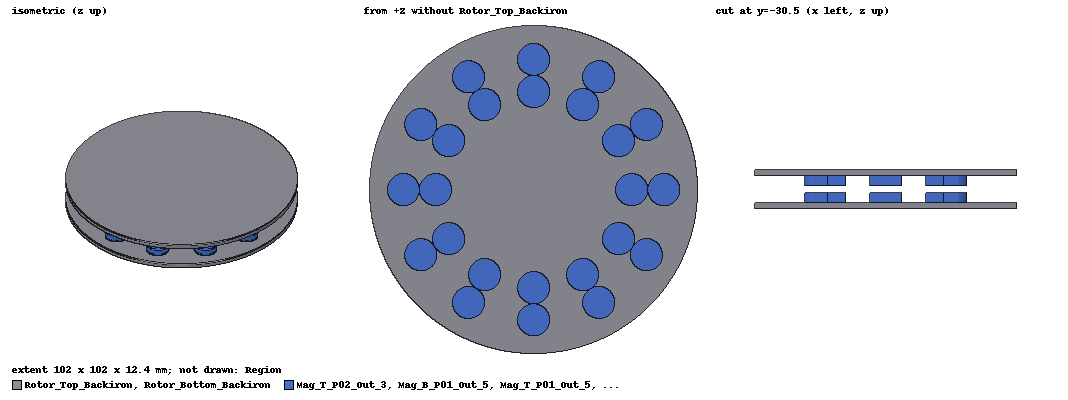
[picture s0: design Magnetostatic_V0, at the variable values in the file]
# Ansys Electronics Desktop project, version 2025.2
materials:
  vacuum: permittivity=1
  FR4_epoxy: permittivity=4.4 dielectric_loss_tangent=0.02
  steel_1008: permeability{HUnit=A_per_meter BUnit=tesla curve (0, 0) (159.2, 0.2402) (318.3, 0.8654) (477.5, 1.1106) (636.6, 1.2458) (795.8, 1.331) (1591.5, 1.5) (3183.1, 1.6) (4774.6, 1.683) (6366.2, 1.741) (7957.7, 1.78) (15915.5, 1.905) (31831, 2.025) (47746.5, 2.085) (63662, 2.13) (79577.5, 2.165) (159155, 2.28) (318310, 2.485) (397887, 2.5851)} conductivity=2000000
  N38_V0_PosZ: permeability=1.05 magnetic_coercivity{Magnitude=-909456A_per_meter DirComp1=0 DirComp2=0 DirComp3=1}
  N38_V0_NegZ: permeability=1.05 magnetic_coercivity{Magnitude=-909456A_per_meter DirComp1=0 DirComp2=0 DirComp3=-1}
  copper: permeability=0.999991 conductivity=58000000

design Magnetostatic_V0 (Maxwell 3D, Magnetostatic, model units mm)
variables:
  R_pcb_out = 50mm
  R_wdg_out = 46mm
  R_wdg_in = 25mm
  R_hole = 6mm
  t_pcb = 1mm
  t_cu = 0.07mm
  w_trace = 1.2mm
  s_trace = 0.25mm
  N_turn_layer = 7
  N_layers = 2
  N_coils = 9
  N_poles = 12
  N_rotors = 2
  N_mag_radial = 2
  d_mag = 10mm
  t_mag = 3mm
  R_mag_inner = 30.5mm
  R_mag_outer = 40.5mm
  g_mech = 0.7mm
  t_backiron = 2mm
  R_rotor = 51mm
  D_shaft = 8mm
  z_top_mag = t_pcb/2+g_mech
  z_bottom_mag = -z_top_mag-t_mag
  theta_pole = 360deg/N_poles
  z_pcb_min = -t_pcb/2
  z_top_iron = z_top_mag+t_mag
  z_bottom_iron = z_bottom_mag-t_backiron
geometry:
  PCB_Stator [FR4_epoxy, non-model] = cylinder(axis=Z, base_centre=(0mm, 0mm, z_pcb_min), radius=R_pcb_out, height=t_pcb)
  PCB_Hole_Tool = cylinder(axis=Z, base_centre=(0mm, 0mm, z_pcb_min), radius=R_hole, height=t_pcb)
  PCB_Stator.subtract(PCB_Hole_Tool)
  Rotor_Top_Backiron [steel_1008] = cylinder(axis=Z, base_centre=(0mm, 0mm, z_top_iron), radius=R_rotor, height=t_backiron)
  Rotor_Bottom_Backiron [steel_1008] = cylinder(axis=Z, base_centre=(0mm, 0mm, z_bottom_iron), radius=R_rotor, height=t_backiron)
  Mag_T_P01_In [N38_V0_PosZ] = cylinder(axis=Z, base_centre=(R_mag_inner, 0mm, z_top_mag), radius=d_mag/2, height=t_mag)
  Mag_T_P01_Out [N38_V0_PosZ] = cylinder(axis=Z, base_centre=(R_mag_outer, 0mm, z_top_mag), radius=d_mag/2, height=t_mag)
  Mag_B_P01_In [N38_V0_PosZ] = cylinder(axis=Z, base_centre=(R_mag_inner, 0mm, z_bottom_mag), radius=d_mag/2, height=t_mag)
  Mag_B_P01_Out [N38_V0_PosZ] = cylinder(axis=Z, base_centre=(R_mag_outer, 0mm, z_bottom_mag), radius=d_mag/2, height=t_mag)
  Mag_B_P02_In [N38_V0_NegZ] = Mag_B_P01_In.duplicate_around_axis(axis=Z, angle=theta_pole, total=2)
  Mag_B_P02_Out [N38_V0_NegZ] = Mag_B_P01_Out.duplicate_around_axis(axis=Z, angle=theta_pole, total=2)
  Mag_T_P02_In [N38_V0_NegZ] = Mag_T_P01_In.duplicate_around_axis(axis=Z, angle=theta_pole, total=2)
  Mag_T_P02_Out [N38_V0_NegZ] = Mag_T_P01_Out.duplicate_around_axis(axis=Z, angle=theta_pole, total=2)
  Mag_B_P02_In_1..Mag_B_P02_In_5 [N38_V0_NegZ] = Mag_B_P02_In.duplicate_around_axis(axis=Z, angle=2*theta_pole, total=6)
  Mag_B_P02_Out_1..Mag_B_P02_Out_5 [N38_V0_NegZ] = Mag_B_P02_Out.duplicate_around_axis(axis=Z, angle=2*theta_pole, total=6)
  Mag_T_P02_In_1..Mag_T_P02_In_5 [N38_V0_NegZ] = Mag_T_P02_In.duplicate_around_axis(axis=Z, angle=2*theta_pole, total=6)
  Mag_T_P02_Out_1..Mag_T_P02_Out_5 [N38_V0_NegZ] = Mag_T_P02_Out.duplicate_around_axis(axis=Z, angle=2*theta_pole, total=6)
  Mag_B_P01_In_1..Mag_B_P01_In_5 [N38_V0_PosZ] = Mag_B_P01_In.duplicate_around_axis(axis=Z, angle=2*theta_pole, total=6)
  Mag_B_P01_Out_1..Mag_B_P01_Out_5 [N38_V0_PosZ] = Mag_B_P01_Out.duplicate_around_axis(axis=Z, angle=2*theta_pole, total=6)
  Mag_T_P01_In_1..Mag_T_P01_In_5 [N38_V0_PosZ] = Mag_T_P01_In.duplicate_around_axis(axis=Z, angle=2*theta_pole, total=6)
  Mag_T_P01_Out_1..Mag_T_P01_Out_5 [N38_V0_PosZ] = Mag_T_P01_Out.duplicate_around_axis(axis=Z, angle=2*theta_pole, total=6)
  Region [vacuum] = region(percentage_offset=50 on all sides)
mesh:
  initial mesh: GlobalCurvilinear{Apply}
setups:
  Setup_NoLoad: Magnetostatic MaximumPasses=3 MinimumPasses=2 MinimumConvergedPasses=1 PercentRefinement=10 PercentError=5 NonLinearResidual=0.001
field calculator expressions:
  Bz_NoLoad = Fundamental_Quantity(22) | ScalarZ
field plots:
  Bmag_StatorMidplane_NoLoad: B over a plane on Setup_NoLoad : LastAdaptive
  Bz_StatorMidplane_NoLoad: NamedExpr over a plane on Setup_NoLoad : LastAdaptive

design Magnetostatic_Winding_V0 (Maxwell 3D, Magnetostatic, model units mm)
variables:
  R_pcb_out = 50mm
  R_wdg_out = 46mm
  R_wdg_in = 25mm
  R_hole = 6mm
  t_pcb = 1mm
  t_cu = 0.07mm
  w_trace = 1.2mm
  s_trace = 0.25mm
  N_turn_layer = 7
  N_layers = 2
  N_coils = 9
  N_poles = 12
  N_rotors = 2
  N_mag_radial = 2
  d_mag = 10mm
  t_mag = 3mm
  R_mag_inner = 30.5mm
  R_mag_outer = 40.5mm
  g_mech = 0.7mm
  t_backiron = 2mm
  R_rotor = 51mm
  D_shaft = 8mm
  z_top_mag = t_pcb/2+g_mech
  z_bottom_mag = -z_top_mag-t_mag
  theta_pole = 360deg/N_poles
  z_pcb_min = -t_pcb/2
  z_top_iron = z_top_mag+t_mag
  z_bottom_iron = z_bottom_mag-t_backiron
  theta_coil = 360deg/N_coils
  theta_path_half = theta_coil/4
  w_bundle = N_turn_layer*w_trace+(N_turn_layer-1)*s_trace
  R_coil_outer_cl = R_wdg_out-w_bundle/2
  R_coil_inner_cl = R_wdg_in+w_bundle/2
  z_cu_top_mid = t_pcb/2+t_cu/2
  z_cu_bottom_mid = -t_pcb/2-t_cu/2
  N_turn_total = N_turn_layer*N_layers
  x_term_cl = R_coil_outer_cl*cos(theta_path_half)
  x_term_min = x_term_cl-w_bundle/2
  z_term_top_min = t_pcb/2
  I_phase_pk = 1A
  gamma_e = 300deg
  I_A = I_phase_pk*cos(gamma_e)
  I_B = I_phase_pk*cos(gamma_e-120deg)
  I_C = I_phase_pk*cos(gamma_e+120deg)
  diameter = 0.84mm
  w_cu_eq = N_turn_layer*w_trace
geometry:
  PCB_Stator [FR4_epoxy] = cylinder(axis=Z, base_centre=(0mm, 0mm, z_pcb_min), radius=R_pcb_out, height=t_pcb)
  PCB_Hole_Tool = cylinder(axis=Z, base_centre=(0mm, 0mm, z_pcb_min), radius=R_hole, height=t_pcb)
  PCB_Stator.subtract(PCB_Hole_Tool)
  Rotor_Top_Backiron [steel_1008] = cylinder(axis=Z, base_centre=(0mm, 0mm, z_top_iron), radius=R_rotor, height=t_backiron)
  Rotor_Bottom_Backiron [steel_1008] = cylinder(axis=Z, base_centre=(0mm, 0mm, z_bottom_iron), radius=R_rotor, height=t_backiron)
  Mag_T_P01_In [N38_V0_PosZ] = cylinder(axis=Z, base_centre=(R_mag_inner, 0mm, z_top_mag), radius=d_mag/2, height=t_mag)
  Mag_T_P01_Out [N38_V0_PosZ] = cylinder(axis=Z, base_centre=(R_mag_outer, 0mm, z_top_mag), radius=d_mag/2, height=t_mag)
  Mag_B_P01_In [N38_V0_PosZ] = cylinder(axis=Z, base_centre=(R_mag_inner, 0mm, z_bottom_mag), radius=d_mag/2, height=t_mag)
  Mag_B_P01_Out [N38_V0_PosZ] = cylinder(axis=Z, base_centre=(R_mag_outer, 0mm, z_bottom_mag), radius=d_mag/2, height=t_mag)
  Mag_B_P02_In [N38_V0_NegZ] = Mag_B_P01_In.duplicate_around_axis(axis=Z, angle=theta_pole, total=2)
  Mag_B_P02_Out [N38_V0_NegZ] = Mag_B_P01_Out.duplicate_around_axis(axis=Z, angle=theta_pole, total=2)
  Mag_T_P02_In [N38_V0_NegZ] = Mag_T_P01_In.duplicate_around_axis(axis=Z, angle=theta_pole, total=2)
  Mag_T_P02_Out [N38_V0_NegZ] = Mag_T_P01_Out.duplicate_around_axis(axis=Z, angle=theta_pole, total=2)
  Mag_B_P02_In_1..Mag_B_P02_In_5 [N38_V0_NegZ] = Mag_B_P02_In.duplicate_around_axis(axis=Z, angle=2*theta_pole, total=6)
  Mag_B_P02_Out_1..Mag_B_P02_Out_5 [N38_V0_NegZ] = Mag_B_P02_Out.duplicate_around_axis(axis=Z, angle=2*theta_pole, total=6)
  Mag_T_P02_In_1..Mag_T_P02_In_5 [N38_V0_NegZ] = Mag_T_P02_In.duplicate_around_axis(axis=Z, angle=2*theta_pole, total=6)
  Mag_T_P02_Out_1..Mag_T_P02_Out_5 [N38_V0_NegZ] = Mag_T_P02_Out.duplicate_around_axis(axis=Z, angle=2*theta_pole, total=6)
  Mag_B_P01_In_1..Mag_B_P01_In_5 [N38_V0_PosZ] = Mag_B_P01_In.duplicate_around_axis(axis=Z, angle=2*theta_pole, total=6)
  Mag_B_P01_Out_1..Mag_B_P01_Out_5 [N38_V0_PosZ] = Mag_B_P01_Out.duplicate_around_axis(axis=Z, angle=2*theta_pole, total=6)
  Mag_T_P01_In_1..Mag_T_P01_In_5 [N38_V0_PosZ] = Mag_T_P01_In.duplicate_around_axis(axis=Z, angle=2*theta_pole, total=6)
  Mag_T_P01_Out_1..Mag_T_P01_Out_5 [N38_V0_PosZ] = Mag_T_P01_Out.duplicate_around_axis(axis=Z, angle=2*theta_pole, total=6)
  Region [vacuum] = region(percentage_offset=50 on all sides)
  Coil_Top_01 [copper] = polyline(z=0.535mm, xy in mm: (40.426358, -7.1282577) (40.426358, 7.1282577) (29.494992, 5.2007629) (29.494992, -5.2007629) (40.426358, -7.1282577), closed, section rectangle width=w_cu_eq height=t_cu orient=Z)
  Coil_Top_01_1..Coil_Top_01_8 [copper] = Coil_Top_01.duplicate_around_axis(axis=Z, angle=theta_coil, total=9)
  Coil_Bottom_01 [copper] = Coil_Top_01.duplicate_along_line(step=(0mm, 0mm, -1.07mm), total=2)
  Coil_Bottom_01_1..Coil_Bottom_01_8 [copper] = Coil_Bottom_01.duplicate_around_axis(axis=Z, angle=theta_coil, total=9)
  Terminal_Top_01 = rectangle(corner=(36.226358mm, 0mm, 0.5mm), z_size=0.07mm, x_size=8.4mm)
  Terminal_Top_01_1..Terminal_Top_01_8 = Terminal_Top_01.duplicate_around_axis(axis=Z, angle=40deg, total=9)
  Terminal_Bottom_01 = Terminal_Top_01.duplicate_along_line(step=(0mm, 0mm, -1.07mm), total=2)
  Terminal_Bottom_01_1..Terminal_Bottom_01_8 = Terminal_Bottom_01.duplicate_around_axis(axis=Z, angle=40deg, total=9)
  Coil_Top_01_Section1 = Coil_Top_01.section(plane=ZX)
  Terminal_Top_01_Exact [copper] = object_from(Coil_Top_01_Section1.face)
  Coil_Top_01_Section1.delete()
  Terminal_Top_01_Exact_1..Terminal_Top_01_Exact_8 [copper] = Terminal_Top_01_Exact.duplicate_around_axis(axis=Z, angle=40deg, total=9)
  Terminal_Top_01_Exact_9 [copper] = Terminal_Top_01_Exact.duplicate_along_line(step=(0mm, 0mm, -1.07mm), total=2)
  Terminal_Top_01_Exact_1_1 [copper] = Terminal_Top_01_Exact_1.duplicate_along_line(step=(0mm, 0mm, -1.07mm), total=2)
  Terminal_Top_01_Exact_2_1 [copper] = Terminal_Top_01_Exact_2.duplicate_along_line(step=(0mm, 0mm, -1.07mm), total=2)
  Terminal_Top_01_Exact_3_1 [copper] = Terminal_Top_01_Exact_3.duplicate_along_line(step=(0mm, 0mm, -1.07mm), total=2)
  Terminal_Top_01_Exact_4_1 [copper] = Terminal_Top_01_Exact_4.duplicate_along_line(step=(0mm, 0mm, -1.07mm), total=2)
  Terminal_Top_01_Exact_5_1 [copper] = Terminal_Top_01_Exact_5.duplicate_along_line(step=(0mm, 0mm, -1.07mm), total=2)
  Terminal_Top_01_Exact_6_1 [copper] = Terminal_Top_01_Exact_6.duplicate_along_line(step=(0mm, 0mm, -1.07mm), total=2)
  Terminal_Top_01_Exact_7_1 [copper] = Terminal_Top_01_Exact_7.duplicate_along_line(step=(0mm, 0mm, -1.07mm), total=2)
  Terminal_Top_01_Exact_8_1 [copper] = Terminal_Top_01_Exact_8.duplicate_along_line(step=(0mm, 0mm, -1.07mm), total=2)
  Bz_Radial_Line [non-model] = polyline((20mm, 0mm, 0mm) (48mm, 0mm, 0mm))
  group Phase_A_Coils = Coil_Top_01, Coil_Top_01_3, Coil_Top_01_6, Coil_Bottom_01, Coil_Bottom_01_3, Coil_Bottom_01_6, Terminal_Top_01_Exact, Terminal_Top_01_Exact_1..Terminal_Top_01_Exact_9, Terminal_Top_01_Exact_1_1, Terminal_Top_01_Exact_2_1, Terminal_Top_01_Exact_3_1, Terminal_Top_01_Exact_4_1, Terminal_Top_01_Exact_5_1, Terminal_Top_01_Exact_6_1, Terminal_Top_01_Exact_7_1, Terminal_Top_01_Exact_8_1
  group Phase_B_Coils = Coil_Top_01_2, Coil_Top_01_5, Coil_Top_01_8, Coil_Bottom_01_2, Coil_Bottom_01_5, Coil_Bottom_01_8
  group Phase_C_Coils = Coil_Top_01_1, Coil_Top_01_4, Coil_Top_01_7, Coil_Bottom_01_1, Coil_Bottom_01_4, Coil_Bottom_01_7
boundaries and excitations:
  CT_A_T1: Coil Terminal Objects=Terminal_Top_01_Exact Conductor_number=7 Winding=Winding_A Point_out_of_terminal=false
  CT_C_T2: Coil Terminal Objects=Terminal_Top_01_Exact_1 Conductor_number=7 Winding=Winding_C Point_out_of_terminal=false
  CT_B_T3: Coil Terminal Objects=Terminal_Top_01_Exact_2 Conductor_number=7 Winding=Winding_B Point_out_of_terminal=false
  CT_A_T4: Coil Terminal Objects=Terminal_Top_01_Exact_3 Conductor_number=7 Winding=Winding_A Point_out_of_terminal=false
  CT_C_T5: Coil Terminal Objects=Terminal_Top_01_Exact_4 Conductor_number=7 Winding=Winding_C Point_out_of_terminal=false
  CT_B_T6: Coil Terminal Objects=Terminal_Top_01_Exact_5 Conductor_number=7 Winding=Winding_B Point_out_of_terminal=false
  CT_A_T7: Coil Terminal Objects=Terminal_Top_01_Exact_6 Conductor_number=7 Winding=Winding_A Point_out_of_terminal=false
  CT_C_T8: Coil Terminal Objects=Terminal_Top_01_Exact_7 Conductor_number=7 Winding=Winding_C Point_out_of_terminal=false
  CT_B_T9: Coil Terminal Objects=Terminal_Top_01_Exact_8 Conductor_number=7 Winding=Winding_B Point_out_of_terminal=false
  CT_A_B1: Coil Terminal Objects=Terminal_Top_01_Exact_9 Conductor_number=7 Winding=Winding_A Point_out_of_terminal=false
  CT_B_B9: Coil Terminal Objects=Terminal_Top_01_Exact_8_1 Conductor_number=7 Winding=Winding_B Point_out_of_terminal=false
  CT_C_B8: Coil Terminal Objects=Terminal_Top_01_Exact_7_1 Conductor_number=7 Winding=Winding_C Point_out_of_terminal=false
  CT_A_B7: Coil Terminal Objects=Terminal_Top_01_Exact_6_1 Conductor_number=7 Winding=Winding_A Point_out_of_terminal=false
  CT_B_B6: Coil Terminal Objects=Terminal_Top_01_Exact_5_1 Conductor_number=7 Winding=Winding_B Point_out_of_terminal=false
  CT_C_B5: Coil Terminal Objects=Terminal_Top_01_Exact_4_1 Conductor_number=7 Winding=Winding_C Point_out_of_terminal=false
  CT_C_B2: Coil Terminal Objects=Terminal_Top_01_Exact_1_1 Conductor_number=7 Winding=Winding_C Point_out_of_terminal=false
  CT_B_B3: Coil Terminal Objects=Terminal_Top_01_Exact_2_1 Conductor_number=7 Winding=Winding_B Point_out_of_terminal=false
  CT_A_B4: Coil Terminal Objects=Terminal_Top_01_Exact_3_1 Conductor_number=7 Winding=Winding_A Point_out_of_terminal=false
  Winding_A: Winding Group Type=Current IsSolid=false Current=I_A ParallelBranchesNum=1
  Winding_B: Winding Group Type=Current IsSolid=false Current=I_B ParallelBranchesNum=1
  Winding_C: Winding Group Type=Current IsSolid=false Current=I_C ParallelBranchesNum=1
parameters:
  Torque_Rotor_Total: Torque Is_Virtual=true Coordinate_System=Global Axis=Z Is_Positive=true Objects=[Mag_B_P02_In, Mag_B_P02_In_1..Mag_B_P02_In_5, Mag_B_P02_Out, Mag_B_P02_Out_1..Mag_B_P02_Out_5, Mag_T_P02_In, Mag_T_P02_In_1..Mag_T_P02_In_5, Mag_T_P02_Out, Mag_T_P02_Out_1..Mag_T_P02_Out_5, Mag_B_P01_In, Mag_B_P01_In_1..Mag_B_P01_In_5, Mag_B_P01_Out, Mag_B_P01_Out_1..Mag_B_P01_Out_5, Mag_T_P01_In, Mag_T_P01_In_1..Mag_T_P01_In_5, Mag_T_P01_Out, Mag_T_P01_Out_1..Mag_T_P01_Out_5, Rotor_Bottom_Backiron, Rotor_Top_Backiron]
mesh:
  initial mesh: GlobalCurvilinear{Apply}
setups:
  Setup_Loaded_1A: Magnetostatic MaximumPasses=6 MinimumPasses=6 MinimumConvergedPasses=1 PercentRefinement=10 PercentError=8 NonLinearResidual=0.001
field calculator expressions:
  Bz_NoLoad = Fundamental_Quantity(22) | ScalarZ
  Bz_1A = B_Vector | ScalarZ
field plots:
  Bz_1A1: Bz_XY_1A over a plane on Setup_Loaded_1A : LastAdaptive
  Jmag_OneCoil_Test: J over Coil_Top_01_2 on Setup_Loaded_1A : LastAdaptive
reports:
  Bz_Radial_Profile_1A: Bz_1A vs Distance on Setup_Loaded_1A : LastAdaptive [I_phase_pk=all gamma_e=all]

design Transient_NoLoad_V0 (Maxwell 3D, Transient, model units mm)
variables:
  R_pcb_out = 50mm
  R_wdg_out = 46mm
  R_wdg_in = 25mm
  R_hole = 6mm
  t_pcb = 1mm
  t_cu = 0.07mm
  w_trace = 1.2mm
  s_trace = 0.25mm
  N_turn_layer = 7
  N_layers = 2
  N_coils = 9
  N_poles = 12
  N_rotors = 2
  N_mag_radial = 2
  d_mag = 10mm
  t_mag = 3mm
  R_mag_inner = 30.5mm
  R_mag_outer = 40.5mm
  g_mech = 0.7mm
  t_backiron = 2mm
  R_rotor = 51mm
  D_shaft = 8mm
  z_top_mag = t_pcb/2+g_mech
  z_bottom_mag = -z_top_mag-t_mag
  theta_pole = 360deg/N_poles
  z_pcb_min = -t_pcb/2
  z_top_iron = z_top_mag+t_mag
  z_bottom_iron = z_bottom_mag-t_backiron
  theta_coil = 360deg/N_coils
  theta_path_half = theta_coil/4
  w_bundle = N_turn_layer*w_trace+(N_turn_layer-1)*s_trace
  R_coil_outer_cl = R_wdg_out-w_bundle/2
  R_coil_inner_cl = R_wdg_in+w_bundle/2
  z_cu_top_mid = t_pcb/2+t_cu/2
  z_cu_bottom_mid = -t_pcb/2-t_cu/2
  N_turn_total = N_turn_layer*N_layers
  x_term_cl = R_coil_outer_cl*cos(theta_path_half)
  x_term_min = x_term_cl-w_bundle/2
  z_term_top_min = t_pcb/2
  I_phase_pk = 1A
  gamma_e = 300deg
  I_A = I_phase_pk*cos(gamma_e)
  I_B = I_phase_pk*cos(gamma_e-120deg)
  I_C = I_phase_pk*cos(gamma_e+120deg)
  diameter = 0.84mm
  w_cu_eq = N_turn_layer*w_trace
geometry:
  PCB_Stator [FR4_epoxy] = cylinder(axis=Z, base_centre=(0mm, 0mm, z_pcb_min), radius=R_pcb_out, height=t_pcb)
  PCB_Hole_Tool = cylinder(axis=Z, base_centre=(0mm, 0mm, z_pcb_min), radius=R_hole, height=t_pcb)
  PCB_Stator.subtract(PCB_Hole_Tool)
  Rotor_Top_Backiron [steel_1008] = cylinder(axis=Z, base_centre=(0mm, 0mm, z_top_iron), radius=R_rotor, height=t_backiron)
  Rotor_Bottom_Backiron [steel_1008] = cylinder(axis=Z, base_centre=(0mm, 0mm, z_bottom_iron), radius=R_rotor, height=t_backiron)
  Mag_T_P01_In [N38_V0_PosZ] = cylinder(axis=Z, base_centre=(R_mag_inner, 0mm, z_top_mag), radius=d_mag/2, height=t_mag)
  Mag_T_P01_Out [N38_V0_PosZ] = cylinder(axis=Z, base_centre=(R_mag_outer, 0mm, z_top_mag), radius=d_mag/2, height=t_mag)
  Mag_B_P01_In [N38_V0_PosZ] = cylinder(axis=Z, base_centre=(R_mag_inner, 0mm, z_bottom_mag), radius=d_mag/2, height=t_mag)
  Mag_B_P01_Out [N38_V0_PosZ] = cylinder(axis=Z, base_centre=(R_mag_outer, 0mm, z_bottom_mag), radius=d_mag/2, height=t_mag)
  Mag_B_P02_In [N38_V0_NegZ] = Mag_B_P01_In.duplicate_around_axis(axis=Z, angle=theta_pole, total=2)
  Mag_B_P02_Out [N38_V0_NegZ] = Mag_B_P01_Out.duplicate_around_axis(axis=Z, angle=theta_pole, total=2)
  Mag_T_P02_In [N38_V0_NegZ] = Mag_T_P01_In.duplicate_around_axis(axis=Z, angle=theta_pole, total=2)
  Mag_T_P02_Out [N38_V0_NegZ] = Mag_T_P01_Out.duplicate_around_axis(axis=Z, angle=theta_pole, total=2)
  Mag_B_P02_In_1..Mag_B_P02_In_5 [N38_V0_NegZ] = Mag_B_P02_In.duplicate_around_axis(axis=Z, angle=2*theta_pole, total=6)
  Mag_B_P02_Out_1..Mag_B_P02_Out_5 [N38_V0_NegZ] = Mag_B_P02_Out.duplicate_around_axis(axis=Z, angle=2*theta_pole, total=6)
  Mag_T_P02_In_1..Mag_T_P02_In_5 [N38_V0_NegZ] = Mag_T_P02_In.duplicate_around_axis(axis=Z, angle=2*theta_pole, total=6)
  Mag_T_P02_Out_1..Mag_T_P02_Out_5 [N38_V0_NegZ] = Mag_T_P02_Out.duplicate_around_axis(axis=Z, angle=2*theta_pole, total=6)
  Mag_B_P01_In_1..Mag_B_P01_In_5 [N38_V0_PosZ] = Mag_B_P01_In.duplicate_around_axis(axis=Z, angle=2*theta_pole, total=6)
  Mag_B_P01_Out_1..Mag_B_P01_Out_5 [N38_V0_PosZ] = Mag_B_P01_Out.duplicate_around_axis(axis=Z, angle=2*theta_pole, total=6)
  Mag_T_P01_In_1..Mag_T_P01_In_5 [N38_V0_PosZ] = Mag_T_P01_In.duplicate_around_axis(axis=Z, angle=2*theta_pole, total=6)
  Mag_T_P01_Out_1..Mag_T_P01_Out_5 [N38_V0_PosZ] = Mag_T_P01_Out.duplicate_around_axis(axis=Z, angle=2*theta_pole, total=6)
  Region [vacuum] = region(percentage_offset=50 on all sides)
  Coil_Top_01 [copper] = polyline(z=0.535mm, xy in mm: (40.426358, -7.1282577) (40.426358, 7.1282577) (29.494992, 5.2007629) (29.494992, -5.2007629) (40.426358, -7.1282577), closed, section rectangle width=w_cu_eq height=t_cu orient=Z)
  Coil_Top_01_1..Coil_Top_01_8 [copper] = Coil_Top_01.duplicate_around_axis(axis=Z, angle=theta_coil, total=9)
  Coil_Bottom_01 [copper] = Coil_Top_01.duplicate_along_line(step=(0mm, 0mm, -1.07mm), total=2)
  Coil_Bottom_01_1..Coil_Bottom_01_8 [copper] = Coil_Bottom_01.duplicate_around_axis(axis=Z, angle=theta_coil, total=9)
  Terminal_Top_01 = rectangle(corner=(36.226358mm, 0mm, 0.5mm), z_size=0.07mm, x_size=8.4mm)
  Terminal_Top_01_1..Terminal_Top_01_8 = Terminal_Top_01.duplicate_around_axis(axis=Z, angle=40deg, total=9)
  Terminal_Bottom_01 = Terminal_Top_01.duplicate_along_line(step=(0mm, 0mm, -1.07mm), total=2)
  Terminal_Bottom_01_1..Terminal_Bottom_01_8 = Terminal_Bottom_01.duplicate_around_axis(axis=Z, angle=40deg, total=9)
  Coil_Top_01_Section1 = Coil_Top_01.section(plane=ZX)
  Terminal_Top_01_Exact [copper] = object_from(Coil_Top_01_Section1.face)
  Coil_Top_01_Section1.delete()
  Terminal_Top_01_Exact_1..Terminal_Top_01_Exact_8 [copper] = Terminal_Top_01_Exact.duplicate_around_axis(axis=Z, angle=40deg, total=9)
  Terminal_Top_01_Exact_9 [copper] = Terminal_Top_01_Exact.duplicate_along_line(step=(0mm, 0mm, -1.07mm), total=2)
  Terminal_Top_01_Exact_1_1 [copper] = Terminal_Top_01_Exact_1.duplicate_along_line(step=(0mm, 0mm, -1.07mm), total=2)
  Terminal_Top_01_Exact_2_1 [copper] = Terminal_Top_01_Exact_2.duplicate_along_line(step=(0mm, 0mm, -1.07mm), total=2)
  Terminal_Top_01_Exact_3_1 [copper] = Terminal_Top_01_Exact_3.duplicate_along_line(step=(0mm, 0mm, -1.07mm), total=2)
  Terminal_Top_01_Exact_4_1 [copper] = Terminal_Top_01_Exact_4.duplicate_along_line(step=(0mm, 0mm, -1.07mm), total=2)
  Terminal_Top_01_Exact_5_1 [copper] = Terminal_Top_01_Exact_5.duplicate_along_line(step=(0mm, 0mm, -1.07mm), total=2)
  Terminal_Top_01_Exact_6_1 [copper] = Terminal_Top_01_Exact_6.duplicate_along_line(step=(0mm, 0mm, -1.07mm), total=2)
  Terminal_Top_01_Exact_7_1 [copper] = Terminal_Top_01_Exact_7.duplicate_along_line(step=(0mm, 0mm, -1.07mm), total=2)
  Terminal_Top_01_Exact_8_1 [copper] = Terminal_Top_01_Exact_8.duplicate_along_line(step=(0mm, 0mm, -1.07mm), total=2)
  Bz_Radial_Line [non-model] = polyline((20mm, 0mm, 0mm) (48mm, 0mm, 0mm))
  Band_Top [vacuum] = cylinder(axis=Z, base_centre=(0mm, 0mm, 0.85mm), radius=52mm, height=5.7mm)
  Band_Bottom [vacuum] = cylinder(axis=Z, base_centre=(0mm, 0mm, -6.55mm), radius=52mm, height=5.7mm)
  group Phase_A_Coils = Coil_Top_01, Coil_Top_01_3, Coil_Top_01_6, Coil_Bottom_01, Coil_Bottom_01_3, Coil_Bottom_01_6, Terminal_Top_01_Exact, Terminal_Top_01_Exact_1..Terminal_Top_01_Exact_9, Terminal_Top_01_Exact_1_1, Terminal_Top_01_Exact_2_1, Terminal_Top_01_Exact_3_1, Terminal_Top_01_Exact_4_1, Terminal_Top_01_Exact_5_1, Terminal_Top_01_Exact_6_1, Terminal_Top_01_Exact_7_1, Terminal_Top_01_Exact_8_1
  group Phase_B_Coils = Coil_Top_01_2, Coil_Top_01_5, Coil_Top_01_8, Coil_Bottom_01_2, Coil_Bottom_01_5, Coil_Bottom_01_8
  group Phase_C_Coils = Coil_Top_01_1, Coil_Top_01_4, Coil_Top_01_7, Coil_Bottom_01_1, Coil_Bottom_01_4, Coil_Bottom_01_7
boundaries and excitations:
  CT_A_T1: Coil Terminal Objects=Terminal_Top_01_Exact Conductor_number=7 Winding=Winding_A Point_out_of_terminal=false
  CT_C_T2: Coil Terminal Objects=Terminal_Top_01_Exact_1 Conductor_number=7 Winding=Winding_C Point_out_of_terminal=false
  CT_B_T3: Coil Terminal Objects=Terminal_Top_01_Exact_2 Conductor_number=7 Winding=Winding_B Point_out_of_terminal=false
  CT_A_T4: Coil Terminal Objects=Terminal_Top_01_Exact_3 Conductor_number=7 Winding=Winding_A Point_out_of_terminal=false
  CT_C_T5: Coil Terminal Objects=Terminal_Top_01_Exact_4 Conductor_number=7 Winding=Winding_C Point_out_of_terminal=false
  CT_B_T6: Coil Terminal Objects=Terminal_Top_01_Exact_5 Conductor_number=7 Winding=Winding_B Point_out_of_terminal=false
  CT_A_T7: Coil Terminal Objects=Terminal_Top_01_Exact_6 Conductor_number=7 Winding=Winding_A Point_out_of_terminal=false
  CT_C_T8: Coil Terminal Objects=Terminal_Top_01_Exact_7 Conductor_number=7 Winding=Winding_C Point_out_of_terminal=false
  CT_B_T9: Coil Terminal Objects=Terminal_Top_01_Exact_8 Conductor_number=7 Winding=Winding_B Point_out_of_terminal=false
  CT_A_B1: Coil Terminal Objects=Terminal_Top_01_Exact_9 Conductor_number=7 Winding=Winding_A Point_out_of_terminal=false
  CT_B_B9: Coil Terminal Objects=Terminal_Top_01_Exact_8_1 Conductor_number=7 Winding=Winding_B Point_out_of_terminal=false
  CT_C_B8: Coil Terminal Objects=Terminal_Top_01_Exact_7_1 Conductor_number=7 Winding=Winding_C Point_out_of_terminal=false
  CT_A_B7: Coil Terminal Objects=Terminal_Top_01_Exact_6_1 Conductor_number=7 Winding=Winding_A Point_out_of_terminal=false
  CT_B_B6: Coil Terminal Objects=Terminal_Top_01_Exact_5_1 Conductor_number=7 Winding=Winding_B Point_out_of_terminal=false
  CT_C_B5: Coil Terminal Objects=Terminal_Top_01_Exact_4_1 Conductor_number=7 Winding=Winding_C Point_out_of_terminal=false
  CT_C_B2: Coil Terminal Objects=Terminal_Top_01_Exact_1_1 Conductor_number=7 Winding=Winding_C Point_out_of_terminal=false
  CT_B_B3: Coil Terminal Objects=Terminal_Top_01_Exact_2_1 Conductor_number=7 Winding=Winding_B Point_out_of_terminal=false
  CT_A_B4: Coil Terminal Objects=Terminal_Top_01_Exact_3_1 Conductor_number=7 Winding=Winding_A Point_out_of_terminal=false
  Winding_A: Winding Group Type=Current IsSolid=false Current=0mA ParallelBranchesNum=1
  Winding_B: Winding Group Type=Current IsSolid=false Current=0mA ParallelBranchesNum=1
  Winding_C: Winding Group Type=Current IsSolid=false Current=0mA ParallelBranchesNum=1
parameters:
  Torque_Rotor_Total: Torque Is_Virtual=true Coordinate_System=Global Axis=Z Is_Positive=true Objects=[Mag_B_P02_In, Mag_B_P02_In_1..Mag_B_P02_In_5, Mag_B_P02_Out, Mag_B_P02_Out_1..Mag_B_P02_Out_5, Mag_T_P02_In, Mag_T_P02_In_1..Mag_T_P02_In_5, Mag_T_P02_Out, Mag_T_P02_Out_1..Mag_T_P02_Out_5, Mag_B_P01_In, Mag_B_P01_In_1..Mag_B_P01_In_5, Mag_B_P01_Out, Mag_B_P01_Out_1..Mag_B_P01_Out_5, Mag_T_P01_In, Mag_T_P01_In_1..Mag_T_P01_In_5, Mag_T_P01_Out, Mag_T_P01_Out_1..Mag_T_P01_Out_5, Rotor_Bottom_Backiron, Rotor_Top_Backiron]
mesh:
  initial mesh: GlobalCurvilinear{Apply}
